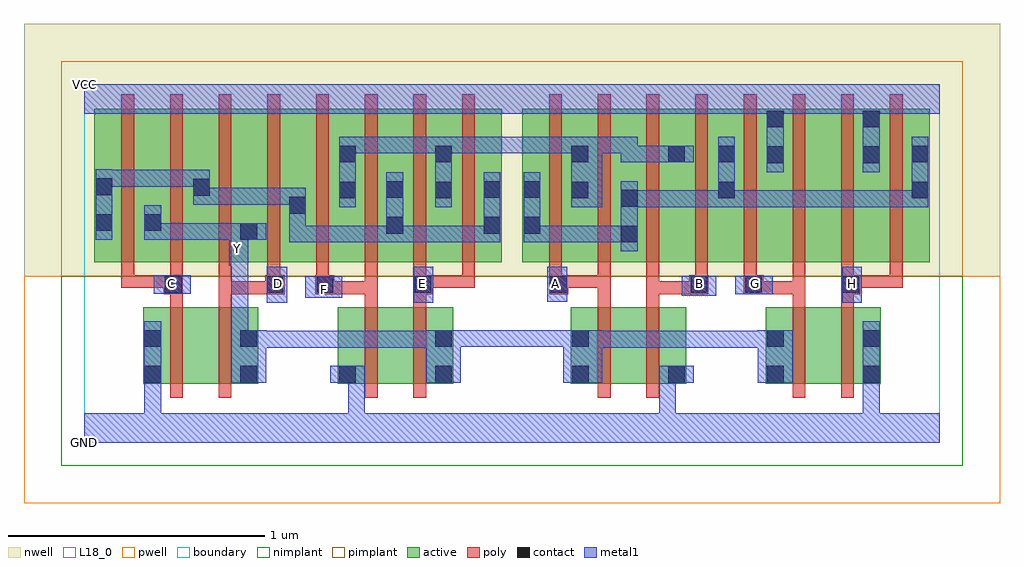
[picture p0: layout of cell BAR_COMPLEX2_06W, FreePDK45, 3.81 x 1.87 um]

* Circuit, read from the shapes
.subckt BAR_COMPLEX2_06W A B C D E F G GND H VCC Y
M1 n1 C GND VSUBS nfet w=0.3u l=0.05u
M2 Y D n1 VSUBS nfet w=0.3u l=0.05u
M3 n2 F GND VSUBS nfet w=0.3u l=0.05u
M4 Y E n2 VSUBS nfet w=0.3u l=0.05u
M5 n3 A Y VSUBS nfet w=0.3u l=0.05u
M6 GND B n3 VSUBS nfet w=0.3u l=0.05u
M7 n4 G Y VSUBS nfet w=0.3u l=0.05u
M8 GND H n4 VSUBS nfet w=0.3u l=0.05u
M9 Y C n5 n6 pfet w=0.6u l=0.05u m=2
M10 Y D n5 n6 pfet w=0.6u l=0.05u m=2
M11 n7 F n5 n6 pfet w=0.6u l=0.05u m=2
M12 n7 E n5 n6 pfet w=0.6u l=0.05u m=2
M13 n7 A n8 n6 pfet w=0.6u l=0.05u m=2
M14 n7 B n8 n6 pfet w=0.6u l=0.05u m=2
M15 VCC G n8 n6 pfet w=0.6u l=0.05u
M16 n9 G VCC n6 pfet w=0.6u l=0.05u
M17 VCC H n9 n6 pfet w=0.6u l=0.05u
M18 n8 H VCC n6 pfet w=0.6u l=0.05u
.ends

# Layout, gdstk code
import gdstk
lib = gdstk.Library(unit=1e-6, precision=1e-09)
def R(c, l, rs):  # rectangles x0, y0, x1, y1
    for r in rs: c.add(gdstk.rectangle(r[:2], r[2:], *l))
def A(c, l, x, y, w, h, nx, ny, dx, dy):  # array of equal rectangles
    R(c, l, [(x+i*dx, y+j*dy, x+i*dx+w, y+j*dy+h) for i in range(nx) for j in range(ny)])
active = (1, 0)
pwell = (2, 0)
nwell = (3, 0)
nimplant = (4, 0)
pimplant = (5, 0)
poly = (9, 0)
contact = (10, 0)
metal1 = (11, 0)
L18_0 = (18, 0)
boundary = (235, 0)

bar_complex2_06w = lib.new_cell('BAR_COMPLEX2_06W')
R(bar_complex2_06w, active, [(0.23,0.23,0.305,0.53), (0.23,0.23,0.455,0.53), (0.455,0.23,0.68,0.53), (0.605,0.23,0.68,0.53), (0.99,0.23,1.065,0.53), (0.99,0.23,1.215,0.53), (1.215,0.23,1.44,0.53), (1.365,0.23,1.44,0.53), (1.9,0.23,1.975,0.53), (1.9,0.23,2.125,0.53), (2.125,0.23,2.35,0.53), (2.275,0.23,2.35,0.53), (2.66,0.23,2.735,0.53), (2.66,0.23,2.885,0.53), (2.885,0.23,3.11,0.53), (3.035,0.23,3.11,0.53), (0.04,0.705,0.115,1.2), (0.04,0.705,0.305,1.305), (0.23,0.705,0.495,1.305), (0.23,0.705,0.305,1.07), (0.42,0.705,0.495,1.2), (0.42,0.705,0.68,1.305), (0.605,0.705,0.87,1.305), (0.605,0.705,0.68,1.07), (0.795,0.705,0.87,1.2), (0.795,0.705,1.065,1.305), (0.99,0.705,1.065,1.2), (0.99,0.705,1.25,1.305), (1.175,0.705,1.44,1.305), (1.175,0.705,1.25,1.07), (1.365,0.705,1.44,1.2), (1.365,0.705,1.63,1.305), (1.555,0.705,1.63,1.07), (1.71,0.705,1.785,1.07), (1.71,0.705,1.972,1.305), (1.897,0.705,1.972,1.2), (1.897,0.705,2.165,1.305), (2.09,0.705,2.35,1.305), (2.09,0.705,2.165,1.07), (2.275,0.705,2.35,1.2), (2.275,0.705,2.545,1.305), (2.47,0.705,2.545,1.2), (2.47,0.705,2.735,1.305), (2.66,0.705,2.735,1.305), (2.66,0.705,2.885,1.305), (2.885,0.705,3.11,1.305), (3.035,0.705,3.3,1.305), (3.035,0.705,3.11,1.305), (3.225,0.705,3.3,1.2)])
R(bar_complex2_06w, pwell, [(-0.235,-0.235,3.575,0.65)])
R(bar_complex2_06w, nwell, [(-0.235,0.65,3.575,1.635)])
R(bar_complex2_06w, nimplant, [(-0.09,-0.09,3.43,0.65)])
R(bar_complex2_06w, pimplant, [(-0.09,0.65,3.43,1.49)])
A(bar_complex2_06w, poly, 0.145, 0.65, 0.05, 0.71, 8, 1, 0.19, 0)
A(bar_complex2_06w, poly, 1.815, 0.65, 0.05, 0.71, 8, 1, 0.19, 0)
R(bar_complex2_06w, poly, [(0.335,0.175,0.385,0.585), (0.525,0.175,0.575,0.585), (1.095,0.175,1.145,0.585), (1.285,0.175,1.335,0.585), (2.005,0.175,2.055,0.585), (2.195,0.175,2.245,0.585), (2.765,0.175,2.815,0.585), (2.955,0.175,3.005,0.585), (0.335,0.535,0.385,0.63), (0.525,0.535,0.575,0.63), (1.095,0.535,1.145,0.63), (1.285,0.535,1.335,0.63), (2.005,0.535,2.055,0.655), (2.195,0.535,2.245,0.63), (2.765,0.535,2.815,0.63), (2.955,0.535,3.005,0.63), (0.31,0.58,0.385,0.655), (0.525,0.58,0.575,0.63), (0.525,0.58,0.575,0.63), (0.525,0.58,0.575,0.63), (0.525,0.58,0.575,0.7), (0.525,0.58,0.757,0.63), (0.707,0.58,0.782,0.655), (0.902,0.58,0.977,0.655), (0.927,0.58,0.977,0.63), (0.927,0.58,0.977,0.63), (0.927,0.58,1.145,0.63), (1.095,0.58,1.145,0.63), (1.095,0.58,1.145,0.7), (1.285,0.58,1.36,0.655), (1.815,0.58,1.89,0.655), (2.195,0.58,2.245,0.63), (2.195,0.58,2.245,0.7), (2.195,0.58,2.412,0.63), (2.362,0.58,2.412,0.63), (2.362,0.58,2.412,0.63), (2.362,0.58,2.437,0.655), (2.575,0.58,2.65,0.655), (2.6,0.58,2.65,0.63), (2.6,0.58,2.65,0.63), (2.6,0.58,2.815,0.63), (2.765,0.58,2.815,0.63), (2.765,0.58,2.815,0.7), (2.955,0.58,3.03,0.655), (0.145,0.605,0.195,0.7), (0.145,0.605,0.195,0.655), (0.145,0.605,0.195,0.655), (0.145,0.605,0.195,0.655), (0.145,0.605,0.36,0.655), (0.335,0.605,0.385,0.7), (0.715,0.605,0.765,0.7), (0.905,0.605,0.955,0.7), (1.285,0.605,1.335,0.7), (1.31,0.605,1.36,0.655), (1.31,0.605,1.36,0.655), (1.31,0.605,1.525,0.655), (1.475,0.605,1.525,0.7), (1.475,0.605,1.525,0.655), (1.815,0.605,1.865,0.7), (1.84,0.605,1.89,0.655), (1.84,0.605,1.89,0.655), (1.84,0.605,2.055,0.655), (2.005,0.605,2.055,0.7), (2.005,0.605,2.055,0.655), (2.385,0.605,2.435,0.7), (2.575,0.605,2.625,0.7), (2.955,0.605,3.005,0.7), (2.98,0.605,3.195,0.655), (3.145,0.605,3.195,0.7), (3.145,0.605,3.195,0.655), (3.145,0.605,3.195,0.655), (3.145,0.605,3.195,0.655)])
R(bar_complex2_06w, contact, [(0.235,0.235,0.3,0.3), (0.61,0.235,0.675,0.3), (0.995,0.235,1.06,0.3), (1.37,0.235,1.435,0.3), (1.905,0.235,1.97,0.3), (2.28,0.235,2.345,0.3), (2.665,0.235,2.73,0.3), (3.04,0.235,3.105,0.3), (0.235,0.375,0.3,0.44), (0.61,0.375,0.675,0.44), (1.37,0.375,1.435,0.44), (1.905,0.375,1.97,0.44), (2.665,0.375,2.73,0.44), (3.04,0.375,3.105,0.44), (0.315,0.585,0.38,0.65), (0.712,0.585,0.777,0.65), (0.907,0.585,0.972,0.65), (1.29,0.585,1.355,0.65), (1.82,0.585,1.885,0.65), (2.367,0.585,2.432,0.65), (2.58,0.585,2.645,0.65), (2.96,0.585,3.025,0.65), (2.095,0.782,2.16,0.847), (0.61,0.792,0.675,0.857), (1.18,0.817,1.245,0.882), (1.56,0.817,1.625,0.882), (1.715,0.817,1.78,0.882), (0.045,0.827,0.11,0.892), (0.235,0.827,0.3,0.892), (0.8,0.895,0.865,0.96), (2.095,0.922,2.16,0.987), (0.995,0.955,1.06,1.02), (1.37,0.955,1.435,1.02), (1.902,0.955,1.967,1.02), (2.475,0.955,2.54,1.02), (3.23,0.955,3.295,1.02), (1.18,0.957,1.245,1.022), (1.56,0.957,1.625,1.022), (1.715,0.957,1.78,1.022), (0.425,0.965,0.49,1.03), (0.045,0.967,0.11,1.032), (2.665,1.092,2.73,1.157), (3.04,1.092,3.105,1.157), (0.995,1.095,1.06,1.16), (1.37,1.095,1.435,1.16), (1.902,1.095,1.967,1.16), (2.28,1.095,2.345,1.16), (2.475,1.095,2.54,1.16), (3.23,1.095,3.295,1.16), (2.665,1.232,2.73,1.297), (3.04,1.232,3.105,1.297)])
R(bar_complex2_06w, metal1, [(0,0,3.34,0.115), (0.235,0.05,0.3,0.115), (0.235,0.05,0.3,0.115), (0.235,0.05,0.3,0.265), (1.03,0.05,1.095,0.3), (2.245,0.05,2.31,0.3), (3.04,0.05,3.105,0.115), (3.04,0.05,3.105,0.115), (3.04,0.05,3.105,0.115), (3.04,0.05,3.105,0.115), (3.04,0.05,3.105,0.265), (0.235,0.2,0.3,0.475), (0.235,0.2,0.3,0.265), (0.235,0.2,0.3,0.265), (3.04,0.2,3.105,0.475), (0.575,0.235,0.71,0.44), (0.96,0.235,1.095,0.3), (1.03,0.235,1.095,0.3), (1.03,0.235,1.095,0.3), (1.03,0.235,1.095,0.3), (1.03,0.235,1.095,0.3), (1.335,0.235,1.47,0.44), (1.87,0.235,2.022,0.44), (2.245,0.235,2.31,0.3), (2.245,0.235,2.31,0.3), (2.245,0.235,2.31,0.3), (2.245,0.235,2.31,0.3), (2.245,0.235,2.38,0.3), (2.63,0.235,2.765,0.44), (0.645,0.372,0.71,0.437), (0.645,0.372,0.71,0.437), (0.645,0.372,0.887,0.437), (0.822,0.372,0.887,0.437), (0.822,0.372,0.887,0.437), (0.822,0.372,0.887,0.437), (0.822,0.372,1.067,0.437), (1.002,0.372,1.067,0.437), (1.002,0.372,1.067,0.437), (1.002,0.372,1.067,0.437), (1.002,0.372,1.245,0.437), (1.18,0.372,1.245,0.437), (1.18,0.372,1.35,0.437), (1.285,0.372,1.35,0.437), (1.285,0.372,1.4,0.437), (1.957,0.372,2.022,0.437), (1.957,0.372,2.022,0.437), (1.957,0.372,2.172,0.437), (2.107,0.372,2.172,0.437), (2.107,0.372,2.172,0.437), (2.107,0.372,2.172,0.437), (2.107,0.372,2.325,0.437), (2.26,0.372,2.325,0.437), (2.26,0.372,2.325,0.437), (2.26,0.372,2.325,0.437), (2.26,0.372,2.462,0.437), (2.397,0.372,2.462,0.437), (2.397,0.372,2.462,0.437), (2.397,0.372,2.462,0.437), (2.397,0.372,2.695,0.437), (0.575,0.375,0.64,0.757), (1.405,0.375,1.625,0.44), (1.56,0.375,1.625,0.44), (1.56,0.375,1.625,0.44), (1.56,0.375,1.625,0.44), (1.56,0.375,1.762,0.44), (1.697,0.375,1.762,0.44), (1.697,0.375,1.762,0.44), (1.697,0.375,1.762,0.44), (1.697,0.375,1.935,0.44), (0.712,0.547,0.792,0.687), (1.287,0.547,1.362,0.687), (2.96,0.547,3.035,0.687), (1.807,0.55,1.885,0.687), (0.862,0.567,1.007,0.65), (2.332,0.575,2.467,0.652), (2.542,0.58,2.687,0.652), (0.272,0.582,0.415,0.655), (0.567,0.692,0.64,0.832), (2.095,0.747,2.16,1.022), (0.575,0.767,0.64,0.857), (0.8,0.782,0.865,0.847), (0.8,0.782,0.93,0.847), (0.8,0.782,0.865,0.925), (0.865,0.782,0.93,0.847), (0.865,0.782,1.067,0.847), (1.002,0.782,1.067,0.847), (1.002,0.782,1.067,0.847), (1.002,0.782,1.067,0.847), (1.002,0.782,1.245,0.847), (1.18,0.782,1.245,1.057), (1.18,0.782,1.312,0.847), (1.247,0.782,1.312,0.847), (1.247,0.782,1.487,0.847), (1.422,0.782,1.487,0.847), (1.422,0.782,1.487,0.847), (1.422,0.782,1.487,0.847), (1.422,0.782,1.625,0.847), (1.56,0.782,1.625,1.057), (1.715,0.782,1.78,1.057), (1.715,0.782,1.78,0.847), (1.715,0.782,1.78,0.847), (1.715,0.782,1.935,0.847), (1.87,0.782,1.935,0.847), (1.87,0.782,1.935,0.847), (1.87,0.782,1.935,0.847), (1.87,0.782,2.16,0.847), (0.045,0.792,0.11,1.067), (0.235,0.792,0.3,0.857), (0.235,0.792,0.3,0.857), (0.235,0.792,0.437,0.857), (0.235,0.792,0.3,0.927), (0.372,0.792,0.437,0.857), (0.372,0.792,0.552,0.857), (0.487,0.792,0.552,0.857), (0.487,0.792,0.64,0.857), (0.575,0.792,0.71,0.857), (0.8,0.86,0.865,0.995), (0.995,0.92,1.06,1.195), (1.37,0.92,1.435,1.195), (1.902,0.92,2.022,1.195), (2.095,0.92,2.187,0.985), (2.122,0.92,2.187,0.985), (2.122,0.92,2.325,0.985), (2.26,0.92,2.325,0.985), (2.26,0.92,2.325,0.985), (2.26,0.92,2.325,0.985), (2.26,0.92,2.54,0.985), (2.475,0.92,2.54,1.195), (2.475,0.92,2.692,0.985), (2.627,0.92,2.692,0.985), (2.627,0.92,2.83,0.985), (2.765,0.92,2.83,0.985), (2.765,0.92,2.83,0.985), (2.765,0.92,2.83,0.985), (2.765,0.92,2.967,0.985), (2.902,0.92,2.967,0.985), (2.902,0.92,2.967,0.985), (2.902,0.92,2.967,0.985), (2.902,0.92,3.105,0.985), (3.04,0.92,3.295,0.985), (3.04,0.92,3.105,0.985), (3.04,0.92,3.105,0.985), (3.04,0.92,3.105,0.985), (3.23,0.92,3.295,1.195), (0.425,0.93,0.49,1.065), (0.425,0.93,0.552,0.995), (0.487,0.93,0.552,0.995), (0.487,0.93,0.627,0.995), (0.562,0.93,0.627,0.995), (0.562,0.93,0.71,0.995), (0.645,0.93,0.71,0.995), (0.645,0.93,0.865,0.995), (0.045,1,0.11,1.065), (0.045,1,0.11,1.065), (0.045,1,0.247,1.065), (0.182,1,0.247,1.065), (0.182,1,0.247,1.065), (0.182,1,0.247,1.065), (0.182,1,0.49,1.065), (2.665,1.057,2.73,1.332), (3.04,1.057,3.105,1.332), (2.095,1.095,2.31,1.16), (2.095,1.095,2.16,1.195), (2.245,1.095,2.38,1.16), (0.995,1.13,1.145,1.195), (1.08,1.13,1.145,1.195), (1.08,1.13,1.205,1.195), (1.14,1.13,1.205,1.195), (1.14,1.13,1.35,1.195), (1.285,1.13,1.35,1.195), (1.285,1.13,1.435,1.195), (1.37,1.13,1.625,1.195), (1.56,1.13,1.625,1.195), (1.56,1.13,1.625,1.195), (1.56,1.13,1.625,1.195), (1.56,1.13,1.797,1.195), (1.732,1.13,1.797,1.195), (1.732,1.13,1.797,1.195), (1.732,1.13,1.797,1.195), (1.732,1.13,1.967,1.195), (1.957,1.13,2.022,1.195), (1.957,1.13,2.022,1.195), (1.957,1.13,2.16,1.195), (2.095,1.13,2.16,1.195), (2.095,1.13,2.16,1.195), (2.665,1.267,2.73,1.35), (3.04,1.267,3.105,1.35), (0,1.285,3.34,1.4)])
R(bar_complex2_06w, L18_0, [(0,0,3.34,0.115), (0.235,0.05,0.3,0.115), (0.235,0.05,0.3,0.115), (0.235,0.05,0.3,0.265), (1.03,0.05,1.095,0.3), (2.245,0.05,2.31,0.3), (3.04,0.05,3.105,0.115), (3.04,0.05,3.105,0.115), (3.04,0.05,3.105,0.115), (3.04,0.05,3.105,0.115), (3.04,0.05,3.105,0.265), (0.235,0.2,0.3,0.265), (0.235,0.2,0.3,0.265), (0.235,0.2,0.3,0.475), (3.04,0.2,3.105,0.475), (0.575,0.235,0.71,0.44), (0.96,0.235,1.095,0.3), (1.03,0.235,1.095,0.3), (1.03,0.235,1.095,0.3), (1.03,0.235,1.095,0.3), (1.03,0.235,1.095,0.3), (1.335,0.235,1.47,0.44), (1.87,0.235,2.022,0.44), (2.245,0.235,2.31,0.3), (2.245,0.235,2.31,0.3), (2.245,0.235,2.31,0.3), (2.245,0.235,2.31,0.3), (2.245,0.235,2.38,0.3), (2.63,0.235,2.765,0.44), (0.645,0.372,0.71,0.437), (0.645,0.372,0.71,0.437), (0.645,0.372,0.887,0.437), (0.822,0.372,0.887,0.437), (0.822,0.372,0.887,0.437), (0.822,0.372,0.887,0.437), (0.822,0.372,1.067,0.437), (1.002,0.372,1.067,0.437), (1.002,0.372,1.067,0.437), (1.002,0.372,1.067,0.437), (1.002,0.372,1.245,0.437), (1.18,0.372,1.245,0.437), (1.18,0.372,1.35,0.437), (1.285,0.372,1.35,0.437), (1.285,0.372,1.4,0.437), (1.957,0.372,2.022,0.437), (1.957,0.372,2.022,0.437), (1.957,0.372,2.172,0.437), (2.107,0.372,2.172,0.437), (2.107,0.372,2.172,0.437), (2.107,0.372,2.172,0.437), (2.107,0.372,2.325,0.437), (2.26,0.372,2.325,0.437), (2.26,0.372,2.325,0.437), (2.26,0.372,2.325,0.437), (2.26,0.372,2.462,0.437), (2.397,0.372,2.462,0.437), (2.397,0.372,2.462,0.437), (2.397,0.372,2.462,0.437), (2.397,0.372,2.695,0.437), (0.575,0.375,0.64,0.757), (1.405,0.375,1.625,0.44), (1.56,0.375,1.625,0.44), (1.56,0.375,1.625,0.44), (1.56,0.375,1.625,0.44), (1.56,0.375,1.762,0.44), (1.697,0.375,1.762,0.44), (1.697,0.375,1.762,0.44), (1.697,0.375,1.762,0.44), (1.697,0.375,1.935,0.44), (0.712,0.547,0.792,0.687), (1.287,0.547,1.362,0.687), (2.96,0.547,3.035,0.687), (1.807,0.55,1.885,0.687), (0.862,0.567,1.007,0.65), (0.907,0.567,0.972,0.632), (2.332,0.575,2.467,0.652), (2.542,0.58,2.687,0.652), (0.272,0.582,0.415,0.655), (0.307,0.587,0.372,0.652), (0.727,0.587,0.792,0.652), (1.287,0.587,1.352,0.652), (1.807,0.587,1.872,0.652), (2.367,0.587,2.432,0.652), (2.587,0.587,2.652,0.652), (2.967,0.587,3.032,0.652), (0.567,0.692,0.64,0.832), (0.567,0.727,0.632,0.792), (0.575,0.767,0.64,0.857), (0.235,0.792,0.3,0.857), (0.235,0.792,0.3,0.857), (0.235,0.792,0.3,0.927), (0.235,0.792,0.437,0.857), (0.372,0.792,0.437,0.857), (0.372,0.792,0.552,0.857), (0.487,0.792,0.552,0.857), (0.487,0.792,0.64,0.857), (0.575,0.792,0.71,0.857), (2.665,1.057,2.73,1.332), (3.04,1.057,3.105,1.332), (2.665,1.267,2.73,1.35), (3.04,1.267,3.105,1.35), (0,1.285,3.34,1.4)])
R(bar_complex2_06w, boundary, [(0,0,3.34,1.4)])
bar_complex2_06w.add(gdstk.Label('A', (1.84,0.62), layer=11, texttype=0))
bar_complex2_06w.add(gdstk.Label('B', (2.4,0.62), layer=11, texttype=0))
bar_complex2_06w.add(gdstk.Label('C', (0.34,0.62), layer=11, texttype=0))
bar_complex2_06w.add(gdstk.Label('D', (0.76,0.62), layer=11, texttype=0))
bar_complex2_06w.add(gdstk.Label('E', (1.32,0.62), layer=11, texttype=0))
bar_complex2_06w.add(gdstk.Label('F', (0.94,0.6), layer=11, texttype=0))
bar_complex2_06w.add(gdstk.Label('G', (2.62,0.62), layer=11, texttype=0))
bar_complex2_06w.add(gdstk.Label('H', (3,0.62), layer=11, texttype=0))
bar_complex2_06w.add(gdstk.Label('Y', (0.6,0.76), layer=11, texttype=0))
bar_complex2_06w.add(gdstk.Label('VCC', (0,1.4), layer=11, texttype=0))
bar_complex2_06w.add(gdstk.Label('GND', (0,0), layer=11, texttype=0))

lib.write_gds('BAR_COMPLEX2_06W.gds')
